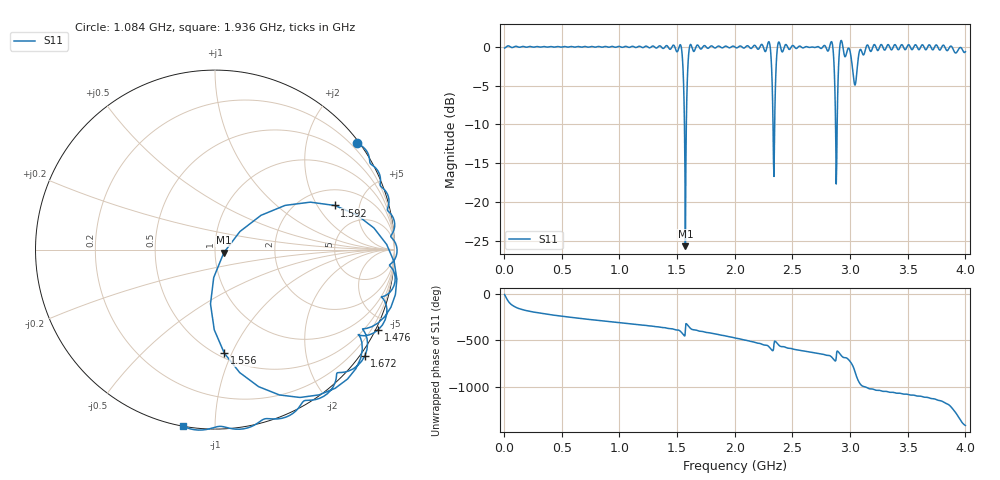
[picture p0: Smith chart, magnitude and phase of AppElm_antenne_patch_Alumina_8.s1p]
! TOUCHSTONE file generated by CST MICROWAVE STUDIO
! Date and time: Thu Jun  9 14:52:40 2022
! Project name: AppElm_antenne_patch_Alumina.cst
! Parameters = {L=30.5; W=41.8; e=0.035; h=1.6; lambda=0.190476; ls=90; w0=1.12; w1=0.373; ws=90; y0=15.4; y1=10}
! Header version: 2018
! Port assignment regex: !\s*Touchstone port\s*([0-9]+)\s*=\s*(CST MWS port|CST DS port)\s*([0-9]+|Zmin|Zmax)\s*\(\"(.*)\"\)(\s*mode\s*([0-9]+))?.*
! Touchstone port assignment:
! Touchstone port 1 = CST MWS port 1 ("")
# GHz S MA R 50
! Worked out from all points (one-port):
!   1000 points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, 4 MHz to 4 GHz, reference 50 ohm
!   lowest |S11| = -25.7 dB at 1.572 GHz (marker M1), VSWR 1.11, Z = 55.1 - j1.94 ohm
!   |S11| at or under -10 dB: 1.564 GHz to 1.58 GHz (16.34 MHz wide, 1.04 % of centre); 2.332 GHz to 2.346 GHz (14.32 MHz wide, 0.612 % of centre); 2.87382 GHz to 2.887957 GHz (14.14 MHz wide, 0.491 % of centre)
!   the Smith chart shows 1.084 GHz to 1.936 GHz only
!   S11 on the Smith chart (normalised r, x): 1.084 GHz: 0.05, +3.00; 1.476 GHz: -0.13, -4.31; 1.556 GHz: 0.54, -0.94; 1.592 GHz: 2.89, +2.87; 1.672 GHz: -0.12, -3.14; 1.936 GHz: -0.00, -0.84
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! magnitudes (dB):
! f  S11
! 4 MHz  -0.2
! 504 MHz  0.0
! 1.004 GHz  0.0
! 1.084 GHz  -0.1
! 1.476 GHz  0.1
! 1.504 GHz  -0.6
! 1.536 GHz  0.0
! 1.556 GHz  -4.7
! 1.572 GHz  -25.7
! 1.592 GHz  -3.0
! 1.6 GHz  -1.0
! 1.612 GHz  0.2
! 1.672 GHz  0.2
! 1.936 GHz  0.0
! 2.004 GHz  -0.1
! 2.292 GHz  0.6
! 2.34 GHz  -16.7
! 2.38 GHz  0.6
! 2.504 GHz  0.2
! 2.836 GHz  0.7
! 2.88 GHz  -17.7
! 2.892 GHz  -6.6
! 2.92 GHz  0.8
! 3.004 GHz  -0.9
! 3.04 GHz  -4.9
! 3.148 GHz  0.2
! 3.504 GHz  0.3
! 4 GHz  -0.6
